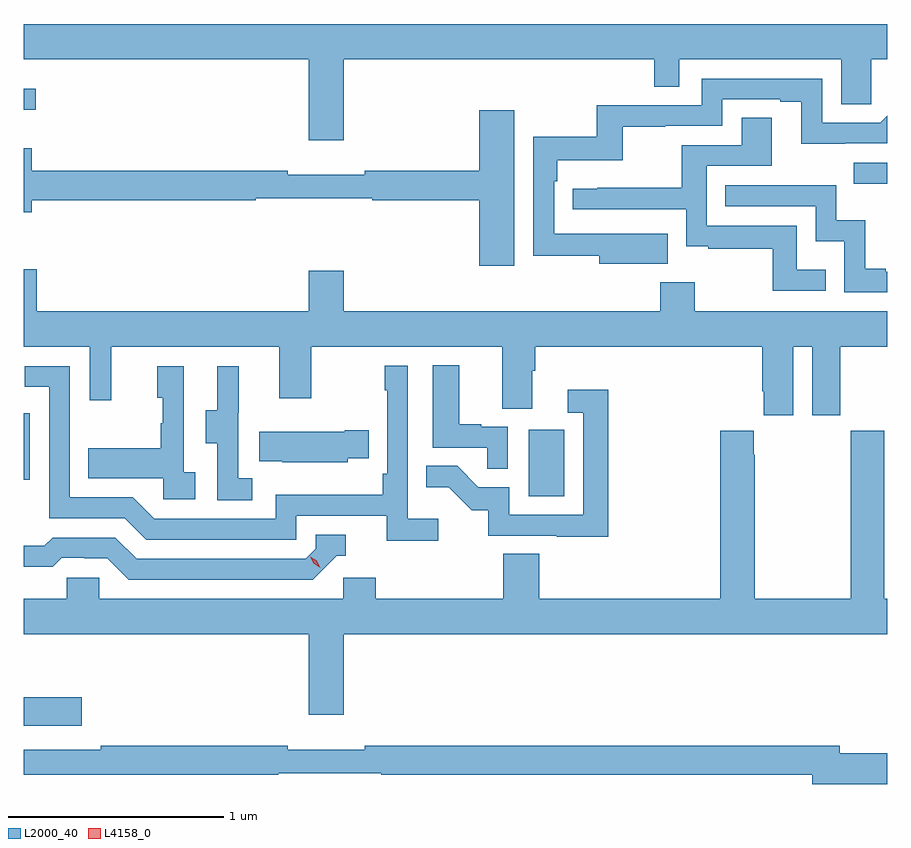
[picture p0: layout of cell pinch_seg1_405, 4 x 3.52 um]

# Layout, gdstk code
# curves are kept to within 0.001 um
import gdstk
lib = gdstk.Library(unit=1e-6, precision=1e-09)
def R(c, l, rs):  # rectangles x0, y0, x1, y1
    for r in rs: c.add(gdstk.rectangle(r[:2], r[2:], *l))
def P(c, l, *ps):  # polygons
    for p in ps: c.add(gdstk.Polygon(p, *l))
L2000_40 = (2000, 40)
L4158_0 = (4158, 0)

pinch_seg1_405 = lib.new_cell('pinch_seg1_405')
R(pinch_seg1_405, L2000_40, [(942.909,527.333,943.177,527.463), (945.248,528.396,945.412,528.703), (942.909,528.471,942.936,528.78), (946.755,529.844,946.909,529.941), (942.909,530.187,942.964,530.284)])
P(pinch_seg1_405, L2000_40, [(944.392,530.42),(945.829,530.42),(945.829,530.293),(945.945,530.293),(945.945,530.42),(946.697,530.42),(946.697,530.212),(946.836,530.212),(946.836,530.42),(946.909,530.42),(946.909,530.584),(942.909,530.584),(942.909,530.42),(944.228,530.42),(944.228,530.046),(944.392,530.046)],
  [(945.893,529.612),(945.366,529.611),(945.366,529.856),(945.38,529.856),(945.38,529.952),(945.685,529.952),(945.685,530.107),(945.881,530.107),(945.881,530.112),(946.146,530.112),(946.146,530.235),(946.415,530.235),(946.415,530.223),(946.511,530.223),(946.511,530.03),(946.909,530.031),(946.909,530.158),(946.878,530.127),(946.608,530.127),(946.608,530.331),(946.05,530.331),(946.05,530.208),(945.564,530.208),(945.564,530.062),(945.27,530.062),(945.27,529.51),(945.575,529.51),(945.575,529.472),(945.893,529.472)],
  [(945.181,530.185),(945.02,530.185),(945.02,529.904),(944.488,529.904),(944.488,529.885),(944.132,529.885),(944.132,529.904),(942.946,529.904),(942.946,530.008),(942.909,530.008),(942.909,529.712),(942.946,529.712),(942.946,529.768),(943.983,529.768),(943.983,529.776),(944.524,529.776),(944.524,529.768),(945.02,529.768),(945.02,529.464),(945.181,529.464)],
  [(946.625,529.444),(946.491,529.444),(946.491,529.65),(946.074,529.65),(946.074,529.926),(946.375,529.926),(946.375,530.15),(946.235,530.15),(946.235,530.022),(945.958,530.022),(945.958,529.826),(945.565,529.826),(945.565,529.821),(945.453,529.821),(945.453,529.725),(945.978,529.725),(945.978,529.553),(946.081,529.553),(946.081,529.542),(946.38,529.542),(946.38,529.347),(946.625,529.347)],
  [(946.909,529.437),(946.903,529.437),(946.903,529.45),(946.807,529.45),(946.807,529.675),(946.674,529.675),(946.674,529.836),(946.159,529.836),(946.159,529.74),(946.578,529.74),(946.578,529.577),(946.71,529.577),(946.71,529.341),(946.909,529.341)],
  [(946.474,529.088),(946.562,529.088),(946.562,528.771),(946.693,528.771),(946.693,529.088),(946.909,529.088),(946.909,529.252),(946.017,529.252),(946.017,529.387),(945.857,529.387),(945.857,529.252),(944.392,529.252),(944.392,529.441),(944.228,529.441),(944.228,529.252),(942.968,529.252),(942.968,529.447),(942.909,529.447),(942.909,529.088),(943.215,529.088),(943.215,528.84),(943.313,528.84),(943.313,529.088),(944.093,529.088),(944.093,528.849),(944.241,528.849),(944.241,529.088),(945.125,529.088),(945.125,528.802),(945.265,528.802),(945.265,528.976),(945.278,528.976),(945.278,529.088),(946.331,529.088),(946.331,528.883),(946.337,528.883),(946.337,528.771),(946.474,528.771)],
  [(945.15,528.717),(945.029,528.717),(945.029,528.73),(944.926,528.73),(944.926,529.003),(944.804,529.003),(944.804,528.621),(945.055,528.621),(945.055,528.523),(945.15,528.523)],
  [(944.83,528.292),(944.688,528.292),(944.688,529),(944.58,529),(944.58,528.887),(944.592,528.887),(944.592,528.499),(944.572,528.499),(944.572,528.403),(944.076,528.403),(944.076,528.291),(943.512,528.291),(943.413,528.39),(943.122,528.39),(943.122,528.999),(942.913,528.999),(942.913,528.903),(943.026,528.903),(943.026,528.294),(943.376,528.294),(943.475,528.195),(944.172,528.195),(944.172,528.306),(944.591,528.306),(944.591,528.19),(944.83,528.19)],
  [(943.966,528.479),(943.902,528.479),(943.902,528.783),(943.904,528.783),(943.904,528.997),(943.805,528.997),(943.805,528.795),(943.751,528.795),(943.751,528.64),(943.806,528.64),(943.806,528.376),(943.966,528.376)],
  [(943.702,528.506),(943.65,528.506),(943.65,528.997),(943.526,528.997),(943.526,528.852),(943.552,528.852),(943.552,528.734),(943.542,528.734),(943.542,528.619),(943.207,528.619),(943.207,528.479),(943.554,528.479),(943.554,528.381),(943.702,528.381)],
  [(945.617,528.889),(945.429,528.889),(945.429,528.783),(945.501,528.783),(945.501,528.309),(945.159,528.309),(945.159,528.438),(945.014,528.438),(944.916,528.536),(944.773,528.536),(944.773,528.437),(944.877,528.437),(944.984,528.33),(945.061,528.33),(945.061,528.213),(945.379,528.213),(945.379,528.208),(945.617,528.208)],
  [(944.409,528.572),(944.507,528.572),(944.507,528.702),(944.396,528.702),(944.396,528.694),(943.999,528.694),(943.999,528.557),(944.107,528.557),(944.107,528.554),(944.409,528.554)],
  [(944.392,527.756),(946.909,527.756),(946.909,527.92),(946.896,527.92),(946.896,528.7),(946.741,528.7),(946.741,527.92),(946.296,527.92),(946.296,528.587),(946.291,528.587),(946.291,528.7),(946.136,528.7),(946.136,527.92),(945.296,527.92),(945.296,528.128),(945.131,528.128),(945.131,527.92),(944.54,527.92),(944.54,528.018),(944.388,528.018),(944.388,527.92),(943.257,527.92),(943.257,528.018),(943.107,528.018),(943.107,527.92),(942.909,527.92),(942.909,527.756),(944.228,527.756),(944.228,527.382),(944.392,527.382)],
  [(944.358,528.12),(944.401,528.12),(944.401,528.216),(944.262,528.216),(944.262,528.153),(944.214,528.105),(943.431,528.105),(943.332,528.204),(943.043,528.204),(943.004,528.165),(942.909,528.165),(942.909,528.069),(943.043,528.069),(943.085,528.111),(943.188,528.111),(943.188,528.108),(943.295,528.108),(943.394,528.009),(944.247,528.009)],
  [(946.909,527.204),(946.69,527.204),(946.69,527.24),(944.488,527.24),(944.488,527.221),(944.132,527.221),(944.132,527.24),(943.264,527.24),(943.264,527.22),(942.909,527.22),(942.909,527.104),(944.088,527.104),(944.088,527.112),(944.566,527.112),(944.566,527.104),(946.562,527.104),(946.562,527.062),(946.909,527.062)])
P(pinch_seg1_405, L4158_0, [(944.282,528.064),(944.251,528.084),(944.236,528.116),(944.236,528.116),(944.236,528.116),(944.266,528.097),(944.282,528.064),(944.282,528.064)])

lib.write_gds('pinch_seg1_405.gds')
